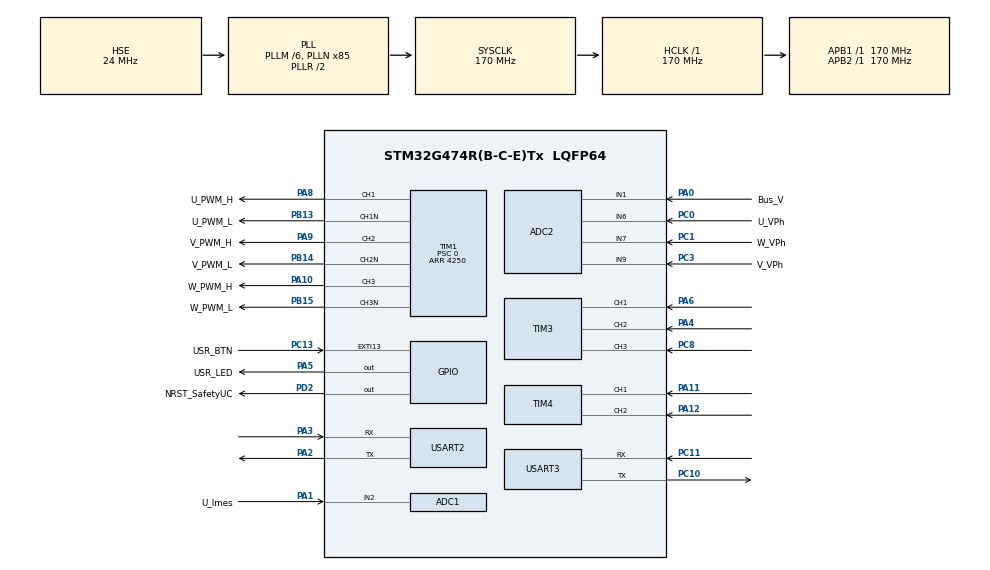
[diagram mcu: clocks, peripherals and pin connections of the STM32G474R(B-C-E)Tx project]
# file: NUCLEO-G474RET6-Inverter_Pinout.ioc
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ADC1.Channel-0\#ChannelRegularConversion=ADC_CHANNEL_2
ADC1.DMAContinuousRequests=ENABLE
ADC1.ExternalTrigConv=ADC_EXTERNALTRIG_T1_TRGO
ADC1.NbrOfConversionFlag=1
ADC1.OffsetNumber-0\#ChannelRegularConversion=ADC_OFFSET_NONE
ADC1.Rank-0\#ChannelRegularConversion=1
ADC1.SamplingTime-0\#ChannelRegularConversion=ADC_SAMPLETIME_12CYCLES_5
ADC1.master=1
ADC2.Channel-0\#ChannelRegularConversion=ADC_CHANNEL_6
ADC2.NbrOfConversionFlag=1
ADC2.OffsetNumber-0\#ChannelRegularConversion=ADC_OFFSET_NONE
ADC2.Rank-0\#ChannelRegularConversion=1
ADC2.SamplingTime-0\#ChannelRegularConversion=ADC_SAMPLETIME_2CYCLES_5
Dma.ADC1.0.Direction=DMA_PERIPH_TO_MEMORY
Dma.ADC1.0.EventEnable=DISABLE
Dma.ADC1.0.Instance=DMA1_Channel2
Dma.ADC1.0.MemDataAlignment=DMA_MDATAALIGN_HALFWORD
Dma.ADC1.0.MemInc=DMA_MINC_ENABLE
Dma.ADC1.0.Mode=DMA_NORMAL
Dma.ADC1.0.PeriphDataAlignment=DMA_PDATAALIGN_HALFWORD
Dma.ADC1.0.PeriphInc=DMA_PINC_DISABLE
Dma.ADC1.0.Polarity=HAL_DMAMUX_REQ_GEN_RISING
Dma.ADC1.0.Priority=DMA_PRIORITY_LOW
Dma.ADC1.0.RequestNumber=1
Dma.ADC1.0.SignalID=NONE
Dma.ADC1.0.SyncEnable=DISABLE
Dma.ADC1.0.SyncPolarity=HAL_DMAMUX_SYNC_NO_EVENT
Dma.ADC1.0.SyncRequestNumber=1
Dma.ADC1.0.SyncSignalID=NONE
Dma.Request0=ADC1
Mcu.Family=STM32G4
Mcu.Name=STM32G474R(B-C-E)Tx
Mcu.Package=LQFP64
NVIC.ADC1_2_IRQn=true\:0\:0\:false\:false\:true\:true\:true\:true
NVIC.DMA1_Channel2_IRQn=true\:0\:0\:false\:false\:true\:false\:true\:true
NVIC.EXTI15_10_IRQn=true\:0\:0\:false\:false\:true\:true\:true\:true
NVIC.PriorityGroup=NVIC_PRIORITYGROUP_4
NVIC.TIM5_IRQn=true\:0\:0\:false\:false\:true\:true\:true\:true
NVIC.TIM6_DAC_IRQn=true\:15\:0\:false\:false\:true\:false\:true\:true
NVIC.TimeBase=TIM6_DAC_IRQn
NVIC.TimeBaseIP=TIM6
NVIC.USART2_IRQn=true\:0\:0\:false\:false\:true\:true\:true\:true
NVIC.USART3_IRQn=true\:0\:0\:false\:false\:true\:true\:true\:true
PA0.GPIO_Label=Bus_V
PA0.Mode=IN1-Single-Ended
PA0.Signal=ADC2_IN1
PA1.GPIO_Label=U_Imes
PA1.Mode=IN2-Single-Ended
PA1.Signal=ADC1_IN2
PA10.GPIO_Label=W_PWM_H
PA10.Signal=S_TIM1_CH3
PA11.Signal=S_TIM4_CH1
PA12.Signal=S_TIM4_CH2
PA13.GPIO_Label=T_SWDIO
PA13.Mode=Trace_Asynchronous_SW
PA13.Signal=SYS_JTMS-SWDIO
PA14.GPIO_Label=T_SWCLK
PA14.Mode=Trace_Asynchronous_SW
PA14.Signal=SYS_JTCK-SWCLK
PA2.Mode=Asynchronous
PA2.Signal=USART2_TX
PA3.Mode=Asynchronous
PA3.Signal=USART2_RX
PA4.Signal=S_TIM3_CH2
PA5.GPIO_Label=USR_LED
PA5.Signal=GPIO_Output
PA6.Signal=S_TIM3_CH1
PA8.GPIO_Label=U_PWM_H
PA8.Signal=S_TIM1_CH1
PA9.GPIO_Label=V_PWM_H
PA9.Signal=S_TIM1_CH2
PB0.Signal=ADC1_IN15
PB1.Signal=ADC1_IN12
PB13.GPIO_Label=U_PWM_L
PB13.Mode=PWM Generation1 CH1 CH1N
PB13.Signal=TIM1_CH1N
PB14.GPIO_Label=V_PWM_L
PB14.Mode=PWM Generation2 CH2 CH2N
PB14.Signal=TIM1_CH2N
PB15.GPIO_Label=W_PWM_L
PB15.Mode=PWM Generation3 CH3 CH3N
PB15.Signal=TIM1_CH3N
PB3.GPIO_Label=T_SWO
PB3.Mode=Trace_Asynchronous_SW
PB3.Signal=SYS_JTDO-SWO
PC0.GPIO_Label=U_VPh
PC0.Mode=IN6-Single-Ended
PC0.Signal=ADC2_IN6
PC1.GPIO_Label=W_VPh
PC1.Mode=IN7-Single-Ended
PC1.Signal=ADC2_IN7
PC10.Mode=Asynchronous
PC10.Signal=USART3_TX
PC11.Mode=Asynchronous
PC11.Signal=USART3_RX
PC13.GPIO_Label=USR_BTN
PC13.Signal=GPXTI13
PC14-OSC32_IN.Mode=LSE-External-Oscillator
PC14-OSC32_IN.Signal=RCC_OSC32_IN
PC15-OSC32_OUT.Mode=LSE-External-Oscillator
PC15-OSC32_OUT.Signal=RCC_OSC32_OUT
PC2.GPIO_Label=Bus_Imes
PC2.Signal=ADC1_IN8
PC3.GPIO_Label=V_VPh
PC3.Mode=IN9-Single-Ended
PC3.Signal=ADC2_IN9
PC8.Signal=S_TIM3_CH3
PD2.GPIO_Label=NRST_SafetyUC
PD2.Signal=GPIO_Output
PF0-OSC_IN.Mode=HSE-External-Oscillator
PF0-OSC_IN.Signal=RCC_OSC_IN
PF1-OSC_OUT.Mode=HSE-External-Oscillator
PF1-OSC_OUT.Signal=RCC_OSC_OUT
ProjectManager.HeapSize=0x200
ProjectManager.StackSize=0x400
ProjectManager.TargetToolchain=STM32CubeIDE
RCC.ADC12Freq_Value=170000000
RCC.ADC345Freq_Value=170000000
RCC.AHBFreq_Value=170000000
RCC.APB1Freq_Value=170000000
RCC.APB1TimFreq_Value=170000000
RCC.APB2Freq_Value=170000000
RCC.APB2TimFreq_Value=170000000
RCC.CortexFreq_Value=170000000
RCC.EXTERNAL_CLOCK_VALUE=12288000
RCC.HCLKFreq_Value=170000000
RCC.HSE_VALUE=24000000
RCC.HSI48_VALUE=48000000
RCC.HSI_VALUE=16000000
RCC.PLLM=RCC_PLLM_DIV6
RCC.PLLN=85
RCC.PLLSourceVirtual=RCC_PLLSOURCE_HSE
RCC.RTCClockSelection=RCC_RTCCLKSOURCE_LSE
RCC.SYSCLKFreq_VALUE=170000000
RCC.SYSCLKSource=RCC_SYSCLKSOURCE_PLLCLK
RCC.USBFreq_Value=170000000
RCC.VCOOutputFreq_Value=340000000
SH.S_TIM1_CH1.0=TIM1_CH1,PWM Generation1 CH1 CH1N
SH.S_TIM1_CH2.0=TIM1_CH2,PWM Generation2 CH2 CH2N
SH.S_TIM1_CH3.0=TIM1_CH3,PWM Generation3 CH3 CH3N
SH.S_TIM3_CH1.0=TIM3_CH1,Xored_Inputs_Hall_Sensor_Interface
SH.S_TIM3_CH2.0=TIM3_CH2,Xored_Inputs_Hall_Sensor_Interface
SH.S_TIM3_CH3.0=TIM3_CH3,Xored_Inputs_Hall_Sensor_Interface
SH.S_TIM4_CH1.0=TIM4_CH1,Encoder_Interface
SH.S_TIM4_CH2.0=TIM4_CH2,Encoder_Interface
TIM1.Channel-PWM\ Generation1\ CH1\ CH1N=TIM_CHANNEL_1
TIM1.Channel-PWM\ Generation2\ CH2\ CH2N=TIM_CHANNEL_2
TIM1.Channel-PWM\ Generation3\ CH3\ CH3N=TIM_CHANNEL_3
TIM1.CounterMode=TIM_COUNTERMODE_CENTERALIGNED1
TIM1.DeadTime=34
TIM1.PeriodNoDither=4250
TIM1.Prescaler=0
TIM1.PulseNoDither_1=2550
TIM1.PulseNoDither_2=1700
TIM1.PulseNoDither_3=637
TIM1.TIM_MasterOutputTrigger=TIM_TRGO_UPDATE
TIM4.EncoderMode=TIM_ENCODERMODE_TI12
TIM5.PeriodNoDither=999
TIM5.Prescaler=1699
USART2.VirtualMode-Asynchronous=VM_ASYNC
USART3.VirtualMode-Asynchronous=VM_ASYNC
VP_SYS_VS_DBSignals.Mode=DisableDeadBatterySignals
VP_SYS_VS_tim6.Mode=TIM6
VP_TIM5_VS_ClockSourceINT.Mode=Internal
board=NUCLEO-G474RE

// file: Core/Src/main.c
/* USER CODE BEGIN Header */
/**
 ******************************************************************************
 * @file           : main.c
 * @brief          : Main program body
 ******************************************************************************
 * @attention
 *
 * Copyright (c) 2023 STMicroelectronics.
 * All rights reserved.
 *
 * This software is licensed under terms that can be found in the LICENSE file
 * in the root directory of this software component.
 * If no LICENSE file comes with this software, it is provided AS-IS.
 *
 ******************************************************************************
 */
/* USER CODE END Header */
#include "main.h"
#include "adc.h"
#include "dma.h"
#include "tim.h"
#include "usart.h"
#include "gpio.h"

/* USER CODE BEGIN Includes */
#include "mylibs/shell.h"
/* USER CODE END Includes */

/* USER CODE BEGIN PD */
#define ADC_BUF_SIZE 1
#define OFFSET 1.65
#define VOLTAGE 3.3
#define NOMINAL_SENSITIVE 0.05

/* USER CODE END PD */

/* USER CODE BEGIN PV */
float Imesf;
float encoder_speed;
uint16_t ADC_Buffer[ADC_BUF_SIZE];

/* USER CODE END PV */

void SystemClock_Config(void);

int main(void)
{

	/* MCU Configuration--------------------------------------------------------*/

	/* Reset of all peripherals, Initializes the Flash interface and the Systick. */
	HAL_Init();

	/* Configure the system clock */
	SystemClock_Config();

	/* Initialize all configured peripherals */
	MX_GPIO_Init();
	MX_DMA_Init();
	MX_ADC2_Init();
	MX_ADC1_Init();
	MX_TIM1_Init();
	MX_TIM3_Init();
	MX_USART2_UART_Init();
	MX_USART3_UART_Init();
	MX_TIM4_Init();
	MX_TIM5_Init();
	/* USER CODE BEGIN 2 */
	Shell_Init();
	HAL_ADCEx_Calibration_Start(&hadc1, ADC_SINGLE_ENDED);
	HAL_ADC_Start_DMA(&hadc1,ADC_Buffer, ADC_BUF_SIZE);

	/* USER CODE END 2 */

	/* Infinite loop */
	/* USER CODE BEGIN WHILE */
	while (1)
	{
		Shell_Loop();

		/* USER CODE END WHILE */

	}
}

void SystemClock_Config(void)
{
	RCC_OscInitTypeDef RCC_OscInitStruct = {0};
	RCC_ClkInitTypeDef RCC_ClkInitStruct = {0};

	/** Configure the main internal regulator output voltage
	 */
	HAL_PWREx_ControlVoltageScaling(PWR_REGULATOR_VOLTAGE_SCALE1_BOOST);

	/** Initializes the RCC Oscillators according to the specified parameters
	 * in the RCC_OscInitTypeDef structure.
	 */
	RCC_OscInitStruct.OscillatorType = RCC_OSCILLATORTYPE_HSE;
	RCC_OscInitStruct.HSEState = RCC_HSE_ON;
	RCC_OscInitStruct.PLL.PLLState = RCC_PLL_ON;
	RCC_OscInitStruct.PLL.PLLSource = RCC_PLLSOURCE_HSE;
	RCC_OscInitStruct.PLL.PLLM = RCC_PLLM_DIV6;
	RCC_OscInitStruct.PLL.PLLN = 85;
	RCC_OscInitStruct.PLL.PLLP = RCC_PLLP_DIV2;
	RCC_OscInitStruct.PLL.PLLQ = RCC_PLLQ_DIV2;
	RCC_OscInitStruct.PLL.PLLR = RCC_PLLR_DIV2;
	if (HAL_RCC_OscConfig(&RCC_OscInitStruct) != HAL_OK)
	{
		Error_Handler();
	}

	/** Initializes the CPU, AHB and APB buses clocks
	 */
	RCC_ClkInitStruct.ClockType = RCC_CLOCKTYPE_HCLK|RCC_CLOCKTYPE_SYSCLK
			|RCC_CLOCKTYPE_PCLK1|RCC_CLOCKTYPE_PCLK2;
	RCC_ClkInitStruct.SYSCLKSource = RCC_SYSCLKSOURCE_PLLCLK;
	RCC_ClkInitStruct.AHBCLKDivider = RCC_SYSCLK_DIV1;
	RCC_ClkInitStruct.APB1CLKDivider = RCC_HCLK_DIV1;
	RCC_ClkInitStruct.APB2CLKDivider = RCC_HCLK_DIV1;

	if (HAL_RCC_ClockConfig(&RCC_ClkInitStruct, FLASH_LATENCY_4) != HAL_OK)
	{
		Error_Handler();
	}
}

/* USER CODE BEGIN 4 */
/*
 * Conversion PAR DMA
 * 4096 -> 12 bits de résolution pour l'ADC
 * Imesf -> La varibale qui contient le courant pour la methode ADC/TIM/DMA
 */

void HAL_ADC_ConvCpltCallback(ADC_HandleTypeDef* hadc)
{
	float vout_ADC;
	uint16_t val_DMA = ADC_Buffer[0];
	vout_ADC = (val_DMA/ 4096.0) * VOLTAGE;
	Imesf =(vout_ADC - OFFSET) / NOMINAL_SENSITIVE;

}
/* USER CODE END 4 */

void HAL_TIM_PeriodElapsedCallback(TIM_HandleTypeDef *htim)
{
	if (htim->Instance == TIM6) {
		HAL_IncTick();
	}
}

void Error_Handler(void)
{
	__disable_irq();
	while (1)
	{
	}
}
